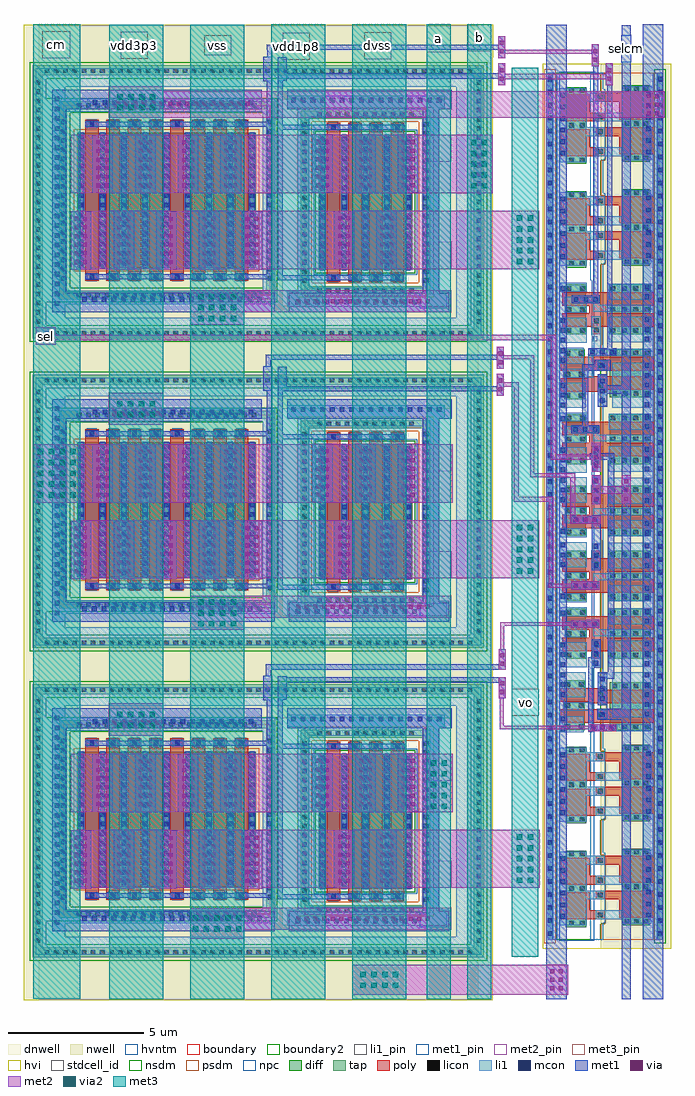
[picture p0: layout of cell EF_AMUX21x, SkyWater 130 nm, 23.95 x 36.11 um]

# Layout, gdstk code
from math import pi, radians
import gdstk
lib = gdstk.Library(unit=1e-6, precision=1e-09)
def R(c, l, rs):  # rectangles x0, y0, x1, y1
    for r in rs: c.add(gdstk.rectangle(r[:2], r[2:], *l))
def A(c, l, x, y, w, h, nx, ny, dx, dy):  # array of equal rectangles
    R(c, l, [(x+i*dx, y+j*dy, x+i*dx+w, y+j*dy+h) for i in range(nx) for j in range(ny)])
def P(c, l, *ps):  # polygons
    for p in ps: c.add(gdstk.Polygon(p, *l))
dnwell = (64, 18)
nwell = (64, 20)
diff = (65, 20)
tap = (65, 44)
poly = (66, 20)
licon = (66, 44)
li1_pin = (67, 16)
li1 = (67, 20)
mcon = (67, 44)
met1_pin = (68, 16)
met1 = (68, 20)
via = (68, 44)
met2_pin = (69, 16)
met2 = (69, 20)
via2 = (69, 44)
met3_pin = (70, 16)
met3 = (70, 20)
hvi = (75, 20)
stdcell_id = (81, 4)
nsdm = (93, 44)
psdm = (94, 20)
npc = (95, 20)
hvntm = (125, 20)
boundary = (235, 4)
boundary2 = (236, 0)

sky130_fd_sc_hvl__nor2_1 = lib.new_cell('sky130_fd_sc_hvl__nor2_1')
R(sky130_fd_sc_hvl__nor2_1, nwell, [(-0.33,1.885,2.73,4.485)])
R(sky130_fd_sc_hvl__nor2_1, diff, [(0.4,0.535,2.25,1.285), (0.47,2.215,2.25,3.715)])
R(sky130_fd_sc_hvl__nor2_1, tap, [(0,-0.085,2.4,0.085), (0,3.985,2.4,4.155)])
R(sky130_fd_sc_hvl__nor2_1, poly, [(1.465,0.405,1.965,3.845)])
P(sky130_fd_sc_hvl__nor2_1, poly, [(1.255,3.845),(0.755,3.845),(0.755,2.085),(0.685,2.085),(0.685,0.405),(1.185,0.405),(1.185,1.415),(1.255,1.415)])
A(sky130_fd_sc_hvl__nor2_1, licon, 0.155, -0.085, 0.17, 0.17, 5, 2, 0.48, 4.07)
A(sky130_fd_sc_hvl__nor2_1, licon, 0.46, 0.575, 0.17, 0.17, 3, 2, 0.78, 0.5)
R(sky130_fd_sc_hvl__nor2_1, licon, [(0.825,1.805,0.995,1.975), (1.575,1.805,1.745,1.975), (2.02,2.255,2.19,2.425), (0.53,2.3,0.7,2.47), (2.02,2.67,2.19,2.84), (0.53,2.7,0.7,2.87), (2.02,3.09,2.19,3.26), (0.53,3.105,0.7,3.275), (0.53,3.505,0.7,3.675), (2.02,3.505,2.19,3.675)])
A(sky130_fd_sc_hvl__nor2_1, li1_pin, 0.155, 1.95, 0.17, 0.17, 5, 1, 0.48, 0)
A(sky130_fd_sc_hvl__nor2_1, li1_pin, 2.075, 2.32, 0.17, 0.17, 1, 3, 0, 0.37)
R(sky130_fd_sc_hvl__nor2_1, li1_pin, [(2.075,1.58,2.245,1.75)])
R(sky130_fd_sc_hvl__nor2_1, li1, [(0,-0.085,2.4,0.085), (0.09,0.365,1.02,1.325), (1.72,0.365,2.31,1.245), (0.125,1.775,1.315,2.12), (1.495,1.775,1.825,2.12), (0.09,2.3,1.76,3.755), (0,3.985,2.4,4.155)])
P(sky130_fd_sc_hvl__nor2_1, li1, [(2.275,3.755),(2.02,3.755),(2.02,1.595),(1.2,1.595),(1.2,0.495),(1.53,0.495),(1.53,1.425),(2.275,1.425)])
A(sky130_fd_sc_hvl__nor2_1, mcon, 0.11, 0.395, 0.17, 0.17, 3, 1, 0.36, 0)
A(sky130_fd_sc_hvl__nor2_1, mcon, 0.12, 3.505, 0.17, 0.17, 5, 1, 0.36, 0)
R(sky130_fd_sc_hvl__nor2_1, mcon, [(0.155,-0.085,0.325,0.085), (0.155,-0.085,0.325,0.085), (0.635,-0.085,0.805,0.085), (0.635,-0.085,0.805,0.085), (1.115,-0.085,1.285,0.085), (1.115,-0.085,1.285,0.085), (1.595,-0.085,1.765,0.085), (1.595,-0.085,1.765,0.085), (2.075,-0.085,2.245,0.085), (2.075,-0.085,2.245,0.085), (1.75,0.395,1.92,0.565), (2.11,0.395,2.28,0.565), (0.155,3.985,0.325,4.155), (0.155,3.985,0.325,4.155), (0.635,3.985,0.805,4.155), (0.635,3.985,0.805,4.155), (1.115,3.985,1.285,4.155), (1.115,3.985,1.285,4.155), (1.595,3.985,1.765,4.155), (1.595,3.985,1.765,4.155), (2.075,3.985,2.245,4.155), (2.075,3.985,2.245,4.155)])
R(sky130_fd_sc_hvl__nor2_1, met1_pin, [(0,0,2.4,0.115), (0,0.255,2.4,0.625), (0,3.445,2.4,3.815), (0,3.955,2.4,4.07)])
R(sky130_fd_sc_hvl__nor2_1, met1, [(0,-0.115,2.4,0.115), (0,0.255,2.4,0.625), (0,3.445,2.4,3.815), (0,3.955,2.4,4.185)])
R(sky130_fd_sc_hvl__nor2_1, hvi, [(-0.33,-0.265,2.73,4.485)])
R(sky130_fd_sc_hvl__nor2_1, stdcell_id, [(0,0,2.4,4.07)])
R(sky130_fd_sc_hvl__nor2_1, nsdm, [(0,0.215,2.4,1.885), (-0.13,3.855,2.53,4.285), (0,3.855,2.4,4.07)])
R(sky130_fd_sc_hvl__nor2_1, psdm, [(-0.13,-0.215,2.53,0.215)])
P(sky130_fd_sc_hvl__nor2_1, psdm, [(2.4,3.855),(0,3.855),(0,1.885),(0.715,1.885),(0.715,2.085),(1.855,2.085),(1.855,1.885),(2.4,1.885)])
P(sky130_fd_sc_hvl__nor2_1, npc, [(2.4,1.97),(1.845,1.97),(1.845,2.075),(1.74,2.075),(1.74,2.125),(0.83,2.125),(0.83,2.075),(0.725,2.075),(0.725,1.97),(0,1.97),(0,1.545),(2.4,1.545)])
R(sky130_fd_sc_hvl__nor2_1, hvntm, [(-0.035,0.35,2.435,1.64)])
R(sky130_fd_sc_hvl__nor2_1, boundary2, [(0,0,2.4,4.07)])
sky130_fd_sc_hvl__nor2_1.add(gdstk.Label('nor2_1', (0,0), layer=83, texttype=44))
sky130_fd_sc_hvl__nor2_1.add(gdstk.Label('VGND', (1.2,0.44), layer=68, texttype=5))
sky130_fd_sc_hvl__nor2_1.add(gdstk.Label('VNB', (1.2,0.058), layer=68, texttype=5))
sky130_fd_sc_hvl__nor2_1.add(gdstk.Label('VPWR', (1.2,3.63), layer=68, texttype=5))
sky130_fd_sc_hvl__nor2_1.add(gdstk.Label('VPB', (1.2,4.013), layer=68, texttype=5))
sky130_fd_sc_hvl__nor2_1.add(gdstk.Label('A', (0.24,2.035), layer=67, texttype=5))
sky130_fd_sc_hvl__nor2_1.add(gdstk.Label('A', (0.72,2.035), layer=67, texttype=5))
sky130_fd_sc_hvl__nor2_1.add(gdstk.Label('A', (1.2,2.035), layer=67, texttype=5))
sky130_fd_sc_hvl__nor2_1.add(gdstk.Label('B', (1.68,2.035), layer=67, texttype=5))
sky130_fd_sc_hvl__nor2_1.add(gdstk.Label('Y', (2.16,1.665), layer=67, texttype=5))
sky130_fd_sc_hvl__nor2_1.add(gdstk.Label('Y', (2.16,2.035), layer=67, texttype=5))
sky130_fd_sc_hvl__nor2_1.add(gdstk.Label('Y', (2.16,2.405), layer=67, texttype=5))
sky130_fd_sc_hvl__nor2_1.add(gdstk.Label('Y', (2.16,2.775), layer=67, texttype=5))
sky130_fd_sc_hvl__nor2_1.add(gdstk.Label('Y', (2.16,3.145), layer=67, texttype=5))

sky130_fd_sc_hvl__decap_ = lib.new_cell('sky130_fd_sc_hvl__decap_8')
R(sky130_fd_sc_hvl__decap_, nwell, [(-0.33,1.885,4.17,4.485)])
R(sky130_fd_sc_hvl__decap_, diff, [(0.535,0.59,3.365,1.34), (0.46,2.7,3.3,3.7)])
R(sky130_fd_sc_hvl__decap_, tap, [(0,-0.085,3.84,0.085), (0,3.985,3.84,4.155)])
P(sky130_fd_sc_hvl__decap_, poly, [(3.08,2.025),(2.75,2.025),(2.75,1.47),(2.08,1.47),(2.08,0.4),(3.08,0.4)],
  [(3.015,3.83),(2.015,3.83),(2.015,1.695),(2.345,1.695),(2.345,2.57),(3.015,2.57)],
  [(1.735,3.83),(0.735,3.83),(0.735,1.695),(1.065,1.695),(1.065,2.57),(1.735,2.57)],
  [(1.8,2.025),(1.47,2.025),(1.47,1.47),(0.8,1.47),(0.8,0.4),(1.8,0.4)])
A(sky130_fd_sc_hvl__decap_, licon, 0.155, -0.085, 0.17, 0.17, 8, 2, 0.48, 4.07)
A(sky130_fd_sc_hvl__decap_, licon, 0.575, 0.72, 0.17, 0.17, 3, 2, 1.28, 0.39)
A(sky130_fd_sc_hvl__decap_, licon, 0.5, 2.76, 0.17, 0.17, 1, 3, 0, 0.355)
A(sky130_fd_sc_hvl__decap_, licon, 1.79, 2.76, 0.17, 0.17, 1, 3, 0, 0.355)
A(sky130_fd_sc_hvl__decap_, licon, 3.07, 2.76, 0.17, 0.17, 1, 3, 0, 0.355)
R(sky130_fd_sc_hvl__decap_, licon, [(0.815,1.775,0.985,1.945), (1.55,1.775,1.72,1.945), (2.095,1.775,2.265,1.945), (2.83,1.775,3,1.945)])
R(sky130_fd_sc_hvl__decap_, li1, [(0,-0.085,3.84,0.085), (0,3.985,3.84,4.155)])
P(sky130_fd_sc_hvl__decap_, li1, [(3.24,3.75),(0.5,3.75),(0.5,2.68),(1.47,2.68),(1.47,1.695),(1.8,1.695),(1.8,2.68),(2.75,2.68),(2.75,1.695),(3.08,1.695),(3.08,2.68),(3.24,2.68)],
  [(3.305,1.36),(2.345,1.36),(2.345,2.025),(2.015,2.025),(2.015,1.36),(1.065,1.36),(1.065,2.025),(0.735,2.025),(0.735,1.36),(0.575,1.36),(0.575,0.36),(3.305,0.36)])
A(sky130_fd_sc_hvl__decap_, mcon, 0.155, -0.085, 0.17, 0.17, 8, 2, 0.48, 4.07)
R(sky130_fd_sc_hvl__decap_, mcon, [(0.745,0.39,0.915,0.56), (1.185,0.39,1.355,0.56), (1.6,0.39,1.77,0.56), (2.025,0.39,2.195,0.56), (2.465,0.39,2.635,0.56), (2.88,0.39,3.05,0.56), (0.705,3.555,0.875,3.725), (1.145,3.555,1.315,3.725), (1.56,3.555,1.73,3.725), (1.985,3.555,2.155,3.725), (2.425,3.555,2.595,3.725), (2.84,3.555,3.01,3.725)])
R(sky130_fd_sc_hvl__decap_, met1_pin, [(0,0,3.84,0.115), (0,0,3.84,0.115), (0,0.255,3.84,0.625), (0,3.445,3.84,3.815), (0,3.955,3.84,4.07), (0,3.955,3.84,4.07)])
R(sky130_fd_sc_hvl__decap_, met1, [(0,-0.115,3.84,0.115), (0,0.255,3.84,0.625), (0,3.445,3.84,3.815), (0,3.955,3.84,4.185)])
R(sky130_fd_sc_hvl__decap_, hvi, [(-0.33,-0.265,4.17,4.485)])
R(sky130_fd_sc_hvl__decap_, stdcell_id, [(0,0,3.84,4.07)])
R(sky130_fd_sc_hvl__decap_, nsdm, [(-0.13,3.855,3.97,4.285)])
P(sky130_fd_sc_hvl__decap_, nsdm, [(3.84,1.885),(3.24,1.885),(3.24,2.055),(0.705,2.055),(0.705,1.885),(0,1.885),(0,0.215),(3.84,0.215)])
R(sky130_fd_sc_hvl__decap_, psdm, [(-0.13,-0.215,3.97,0.215)])
P(sky130_fd_sc_hvl__decap_, psdm, [(3.84,3.855),(0,3.855),(0,1.885),(0.705,1.885),(0.705,2.055),(3.24,2.055),(3.24,1.885),(3.84,1.885)])
P(sky130_fd_sc_hvl__decap_, npc, [(3.84,1.97),(3.2,1.97),(3.2,2.05),(0.615,2.05),(0.615,1.97),(0,1.97),(0,1.5),(3.84,1.5)])
R(sky130_fd_sc_hvl__decap_, hvntm, [(-0.035,0.35,3.875,1.64)])
R(sky130_fd_sc_hvl__decap_, boundary2, [(0,0,3.84,4.07)])
sky130_fd_sc_hvl__decap_.add(gdstk.Label('decap_8', (0,0), layer=83, texttype=44))
sky130_fd_sc_hvl__decap_.add(gdstk.Label('VNB', (1.92,0.058), layer=68, texttype=5))
sky130_fd_sc_hvl__decap_.add(gdstk.Label('VGND', (1.92,0.44), layer=68, texttype=5))
sky130_fd_sc_hvl__decap_.add(gdstk.Label('VNB', (1.92,0.058), layer=68, texttype=5))
sky130_fd_sc_hvl__decap_.add(gdstk.Label('VPWR', (1.92,3.63), layer=68, texttype=5))
sky130_fd_sc_hvl__decap_.add(gdstk.Label('VPB', (1.92,4.013), layer=68, texttype=5))
sky130_fd_sc_hvl__decap_.add(gdstk.Label('VPB', (1.92,4.013), layer=68, texttype=5))

sky130_fd_pr__nfet_g5v0d = lib.new_cell('sky130_fd_pr__nfet_g5v0d10v5_N9BQ2J')
R(sky130_fd_pr__nfet_g5v0d, diff, [(-1.725,-2.5,1.725,2.5)])
R(sky130_fd_pr__nfet_g5v0d, tap, [(-2.395,-3.39,2.395,-3.1), (-2.395,-3.1,-2.105,3.1), (2.105,-3.1,2.395,3.1), (-2.395,3.1,2.395,3.39)])
A(sky130_fd_pr__nfet_g5v0d, poly, -1.435, -2.94, 0.5, 5.88, 4, 1, 0.79, 0)
A(sky130_fd_pr__nfet_g5v0d, licon, -1.785, -3.33, 0.17, 0.17, 11, 2, 0.34, 6.49)
A(sky130_fd_pr__nfet_g5v0d, licon, -2.335, -2.98, 0.17, 0.17, 1, 18, 0, 0.34)
A(sky130_fd_pr__nfet_g5v0d, licon, 2.165, -2.98, 0.17, 0.17, 1, 18, 0, 0.34)
A(sky130_fd_pr__nfet_g5v0d, licon, -1.27, -2.86, 0.17, 0.17, 4, 2, 0.79, 5.55)
A(sky130_fd_pr__nfet_g5v0d, licon, -1.665, -2.295, 0.17, 0.17, 5, 14, 0.79, 0.34)
A(sky130_fd_pr__nfet_g5v0d, li1, -1.435, -2.86, 0.5, 0.17, 4, 2, 0.79, 5.55)
A(sky130_fd_pr__nfet_g5v0d, li1, -1.665, -2.52, 0.17, 5.04, 5, 1, 0.79, 0)
R(sky130_fd_pr__nfet_g5v0d, li1, [(-2.335,-3.33,2.335,-3.16), (-2.335,-3.16,-2.165,3.16), (2.165,-3.16,2.335,3.16), (-2.335,3.16,2.335,3.33)])
A(sky130_fd_pr__nfet_g5v0d, mcon, -1.27, -2.86, 0.17, 0.17, 4, 2, 0.79, 5.55)
A(sky130_fd_pr__nfet_g5v0d, mcon, -1.665, -2.425, 0.17, 0.17, 5, 14, 0.79, 0.36)
A(sky130_fd_pr__nfet_g5v0d, met1, -1.415, -2.89, 0.46, 0.23, 4, 2, 0.79, 5.55)
A(sky130_fd_pr__nfet_g5v0d, met1, -1.695, -2.5, 0.23, 5, 5, 1, 0.79, 0)
R(sky130_fd_pr__nfet_g5v0d, hvi, [(-2.58,-3.575,2.58,3.575)])
R(sky130_fd_pr__nfet_g5v0d, nsdm, [(-1.85,-2.625,1.85,2.625)])
R(sky130_fd_pr__nfet_g5v0d, psdm, [(-2.52,-3.515,2.52,-2.975), (-2.52,-2.975,-1.98,2.975), (1.98,-2.975,2.52,2.975), (-2.52,2.975,2.52,3.515)])
A(sky130_fd_pr__nfet_g5v0d, npc, -1.37, -2.96, 0.37, 0.37, 4, 2, 0.79, 5.55)
R(sky130_fd_pr__nfet_g5v0d, hvntm, [(-1.91,-2.685,1.91,2.685)])
R(sky130_fd_pr__nfet_g5v0d, boundary, [(-2.25,-3.465,2.25,3.465)])

sky130_fd_pr__pfet_g5v0d = lib.new_cell('sky130_fd_pr__pfet_g5v0d10v5_KLJ6Y6')
R(sky130_fd_pr__pfet_g5v0d, nwell, [(-4.305,-3.985,4.305,3.985)])
R(sky130_fd_pr__pfet_g5v0d, diff, [(-3.305,-2.5,3.305,2.5)])
R(sky130_fd_pr__pfet_g5v0d, tap, [(-3.975,-3.655,3.975,-3.365), (-3.975,-3.365,-3.685,3.365), (3.685,-3.365,3.975,3.365), (-3.975,3.365,3.975,3.655)])
A(sky130_fd_pr__pfet_g5v0d, poly, -3.015, -2.985, 0.5, 5.97, 8, 1, 0.79, 0)
A(sky130_fd_pr__pfet_g5v0d, licon, -3.315, -3.595, 0.17, 0.17, 20, 2, 0.34, 7.02)
A(sky130_fd_pr__pfet_g5v0d, licon, -3.915, -2.975, 0.17, 0.17, 1, 18, 0, 0.34)
A(sky130_fd_pr__pfet_g5v0d, licon, 3.745, -2.975, 0.17, 0.17, 1, 18, 0, 0.34)
A(sky130_fd_pr__pfet_g5v0d, licon, -2.85, -2.905, 0.17, 0.17, 8, 2, 0.79, 5.64)
A(sky130_fd_pr__pfet_g5v0d, licon, -3.245, -2.295, 0.17, 0.17, 9, 14, 0.79, 0.34)
A(sky130_fd_pr__pfet_g5v0d, li1, -3.015, -2.905, 0.5, 0.17, 8, 2, 0.79, 5.64)
A(sky130_fd_pr__pfet_g5v0d, li1, -3.245, -2.52, 0.17, 5.04, 9, 1, 0.79, 0)
R(sky130_fd_pr__pfet_g5v0d, li1, [(-3.915,-3.595,3.915,-3.425), (-3.915,-3.425,-3.745,3.425), (3.745,-3.425,3.915,3.425), (-3.915,3.425,3.915,3.595)])
A(sky130_fd_pr__pfet_g5v0d, mcon, -2.85, -2.905, 0.17, 0.17, 8, 2, 0.79, 5.64)
A(sky130_fd_pr__pfet_g5v0d, mcon, -3.245, -2.425, 0.17, 0.17, 9, 14, 0.79, 0.36)
A(sky130_fd_pr__pfet_g5v0d, met1, -2.995, -2.935, 0.46, 0.23, 8, 2, 0.79, 5.64)
A(sky130_fd_pr__pfet_g5v0d, met1, -3.275, -2.5, 0.23, 5, 9, 1, 0.79, 0)
R(sky130_fd_pr__pfet_g5v0d, hvi, [(-4.305,-3.985,4.305,3.985)])
R(sky130_fd_pr__pfet_g5v0d, nsdm, [(-4.1,-3.78,4.1,-3.24), (-4.1,-3.24,-3.56,3.24), (3.56,-3.24,4.1,3.24), (-4.1,3.24,4.1,3.78)])
R(sky130_fd_pr__pfet_g5v0d, psdm, [(-3.43,-2.625,3.43,2.625)])
A(sky130_fd_pr__pfet_g5v0d, npc, -2.95, -3.005, 0.37, 0.37, 8, 2, 0.79, 5.64)
R(sky130_fd_pr__pfet_g5v0d, boundary, [(-3.83,-3.51,3.83,3.51)])

iso_switch_via_med = lib.new_cell('iso_switch_via_med')
R(iso_switch_via_med, met1, [(3.06,-14.57,3.82,-12.41)])
A(iso_switch_via_med, via, 3.2, -14.365, 0.15, 0.15, 1, 6, 0, 0.32)
A(iso_switch_via_med, via, 3.52, -14.365, 0.15, 0.15, 1, 6, 0, 0.32)
R(iso_switch_via_med, met2, [(3.06,-14.57,3.82,-12.41)])

simple_analog_switch_2 = lib.new_cell('simple_analog_switch_2')
R(simple_analog_switch_2, dnwell, [(6.59,0.635,22.855,10.335)])
R(simple_analog_switch_2, nwell, [(6.05,0.12,23.4,1.665), (6.05,1.665,7.08,2.31), (21.825,1.665,23.4,9.305), (6.05,2.31,7.025,9.305), (6.05,9.305,23.4,10.88)])
R(simple_analog_switch_2, tap, [(6.38,0.45,23.07,0.82), (6.38,0.82,6.75,10.18), (22.7,0.82,23.07,10.18), (6.38,10.18,23.07,10.55)])
A(simple_analog_switch_2, licon, 6.82, 0.55, 0.17, 0.17, 47, 2, 0.34, 9.73)
A(simple_analog_switch_2, licon, 6.48, 0.995, 0.17, 0.17, 1, 27, 0, 0.34)
A(simple_analog_switch_2, licon, 22.8, 0.995, 0.17, 0.17, 1, 27, 0, 0.34)
R(simple_analog_switch_2, li1, [(6.48,0.55,22.97,1.22), (6.48,1.22,7.585,1.71), (22.05,1.22,22.97,9.77), (15.8,1.62,21.785,2.205), (6.48,1.71,15.35,2.21), (16.18,2.205,16.61,8.815), (20.8,2.205,21.41,8.815), (6.48,2.21,7.585,8.845), (14.88,2.21,15.35,8.845), (16.18,8.815,21.41,8.98), (6.48,8.845,15.35,9.315), (15.8,8.98,21.61,9.43), (6.48,9.315,7.585,9.77), (6.48,9.77,22.97,10.45)])
A(simple_analog_switch_2, mcon, 7.185, 1.66, 0.17, 0.17, 1, 22, 0, 0.36)
A(simple_analog_switch_2, mcon, 16.095, 1.715, 0.17, 0.17, 13, 1, 0.36, 0)
A(simple_analog_switch_2, mcon, 8.205, 1.815, 0.17, 0.17, 19, 1, 0.36, 0)
A(simple_analog_switch_2, mcon, 8.6, 9.1, 0.17, 0.17, 17, 1, 0.36, 0)
A(simple_analog_switch_2, mcon, 15.93, 9.18, 0.17, 0.17, 16, 1, 0.36, 0)
R(simple_analog_switch_2, met1_pin, [(20.7,1.575,21.7,2.11), (7.405,8.93,8.405,9.32), (14.905,9.96,15.245,10.865), (15.445,9.98,15.78,10.86)])
R(simple_analog_switch_2, met1, [(7.1,1.42,15.33,2.15), (15.85,1.42,21.785,2.15), (7.1,2.15,7.61,8.93), (20.8,2.15,21.41,8.93), (15.44,2.61,20.11,2.79), (8.31,2.65,15.24,2.83), (15.44,2.79,15.62,8.17), (15.04,2.83,15.24,8.29), (15.44,8.17,20.13,8.35), (8.31,8.29,15.24,8.47), (15.44,8.35,15.62,9.98), (15.04,8.47,15.24,9.96), (7.1,8.93,14.84,9.66), (15.8,8.93,21.875,9.66), (14.905,9.96,15.245,10.865), (15.44,9.98,15.78,10.1), (15.445,10.1,15.78,10.86)])
R(simple_analog_switch_2, met2_pin, [(21.03,3.02,21.87,4.02), (21.035,6.98,21.865,7.98)])
R(simple_analog_switch_2, met2, [(7.985,3.02,21.91,5.18), (7.78,5.82,21.91,7.98)])
R(simple_analog_switch_2, hvi, [(6.05,0.12,23.4,1.665), (6.05,1.665,7.08,2.31), (15.63,1.665,23.4,1.91), (15.63,1.91,16.105,9.06), (21.265,1.91,23.4,9.06), (6.05,2.31,7.025,9.305), (15.63,9.06,23.4,9.305), (6.05,9.305,23.4,10.88)])
R(simple_analog_switch_2, nsdm, [(6.255,0.325,23.195,0.945), (6.255,0.945,6.875,1.785), (22.575,0.945,23.195,10.055), (6.255,1.785,7.225,9.345), (6.255,9.345,6.875,10.055), (6.255,10.055,23.195,10.675)])
simple_analog_switch_2.add(gdstk.Reference(sky130_fd_pr__nfet_g5v0d, (18.685,5.485), rotation=pi, x_reflection=True))
simple_analog_switch_2.add(gdstk.Reference(sky130_fd_pr__pfet_g5v0d, (11.325,5.565)))
simple_analog_switch_2.add(gdstk.Reference(iso_switch_via_med, (23.7,-6.57), rotation=pi))
simple_analog_switch_2.add(gdstk.Reference(iso_switch_via_med, (22.91,-9.4), rotation=pi))
simple_analog_switch_2.add(gdstk.Reference(iso_switch_via_med, (21.33,-9.4), rotation=pi))
simple_analog_switch_2.add(gdstk.Reference(iso_switch_via_med, (11.045,-9.41), x_reflection=True))
simple_analog_switch_2.add(gdstk.Reference(iso_switch_via_med, (22.12,-6.57), rotation=pi))
simple_analog_switch_2.add(gdstk.Reference(iso_switch_via_med, (20.54,-6.57), rotation=pi))
simple_analog_switch_2.add(gdstk.Reference(iso_switch_via_med, (8.68,-6.58), x_reflection=True))
simple_analog_switch_2.add(gdstk.Reference(iso_switch_via_med, (7.1,-6.58), x_reflection=True))
simple_analog_switch_2.add(gdstk.Reference(iso_switch_via_med, (10.26,-6.58), x_reflection=True))
simple_analog_switch_2.add(gdstk.Reference(iso_switch_via_med, (9.465,-9.41), x_reflection=True))
simple_analog_switch_2.add(gdstk.Reference(iso_switch_via_med, (7.885,-9.41), x_reflection=True))
simple_analog_switch_2.add(gdstk.Reference(iso_switch_via_med, (6.305,-9.41), x_reflection=True))
simple_analog_switch_2.add(gdstk.Reference(iso_switch_via_med, (4.725,-9.41), x_reflection=True))
simple_analog_switch_2.add(gdstk.Reference(iso_switch_via_med, (5.52,-6.58), x_reflection=True))
simple_analog_switch_2.add(gdstk.Label('on', (15.612,10.42), layer=68, texttype=5))
simple_analog_switch_2.add(gdstk.Label('off', (15.075,10.412), layer=68, texttype=5))
simple_analog_switch_2.add(gdstk.Label('vss', (21.2,1.842), layer=68, texttype=5))
simple_analog_switch_2.add(gdstk.Label('out', (21.45,3.52), layer=69, texttype=5))
simple_analog_switch_2.add(gdstk.Label('in', (21.45,7.48), layer=69, texttype=5))
simple_analog_switch_2.add(gdstk.Label('vdd', (7.905,9.125), layer=68, texttype=5))

sky130_fd_sc_hvl__inv_2 = lib.new_cell('sky130_fd_sc_hvl__inv_2')
R(sky130_fd_sc_hvl__inv_2, nwell, [(-0.33,1.885,2.73,4.485)])
R(sky130_fd_sc_hvl__inv_2, diff, [(0.4,0.58,2.25,1.33), (0.4,2.215,2.25,3.715)])
R(sky130_fd_sc_hvl__inv_2, tap, [(0,-0.085,2.4,0.085), (0,3.985,2.4,4.155)])
P(sky130_fd_sc_hvl__inv_2, poly, [(1.965,3.845),(1.465,3.845),(1.465,2.085),(1.185,2.085),(1.185,3.845),(0.685,3.845),(0.685,1.88),(0.4,1.88),(0.4,1.55),(0.685,1.55),(0.685,0.45),(1.185,0.45),(1.185,1.46),(1.465,1.46),(1.465,0.45),(1.965,0.45)])
A(sky130_fd_sc_hvl__inv_2, licon, 0.155, -0.085, 0.17, 0.17, 5, 2, 0.48, 4.07)
A(sky130_fd_sc_hvl__inv_2, licon, 0.46, 0.62, 0.17, 0.17, 3, 2, 0.78, 0.5)
A(sky130_fd_sc_hvl__inv_2, licon, 0.46, 2.255, 0.17, 0.17, 3, 2, 0.78, 0.415)
A(sky130_fd_sc_hvl__inv_2, licon, 0.46, 3.09, 0.17, 0.17, 3, 2, 0.78, 0.415)
R(sky130_fd_sc_hvl__inv_2, licon, [(0.48,1.63,0.65,1.8), (0.82,1.63,0.99,1.8)])
A(sky130_fd_sc_hvl__inv_2, li1_pin, 1.595, 0.84, 0.17, 0.17, 1, 3, 0, 0.37)
R(sky130_fd_sc_hvl__inv_2, li1_pin, [(0.155,1.58,0.325,1.75), (0.635,1.58,0.805,1.75)])
R(sky130_fd_sc_hvl__inv_2, li1, [(0,-0.085,2.4,0.085), (0.09,0.365,1.02,1.37), (1.98,0.365,2.31,1.37), (0.125,1.55,1.07,1.88), (0.11,2.175,1.06,3.755), (1.68,2.175,2.27,3.755), (0,3.985,2.4,4.155)])
P(sky130_fd_sc_hvl__inv_2, li1, [(1.795,1.78),(1.49,1.78),(1.49,3.755),(1.24,3.755),(1.24,1.61),(1.565,1.61),(1.565,1.37),(1.2,1.37),(1.2,0.54),(1.795,0.54)])
A(sky130_fd_sc_hvl__inv_2, mcon, 0.11, 0.395, 0.17, 0.17, 3, 1, 0.36, 0)
A(sky130_fd_sc_hvl__inv_2, mcon, 0.14, 3.505, 0.17, 0.17, 3, 1, 0.36, 0)
R(sky130_fd_sc_hvl__inv_2, mcon, [(0.155,-0.085,0.325,0.085), (0.155,-0.085,0.325,0.085), (0.635,-0.085,0.805,0.085), (0.635,-0.085,0.805,0.085), (1.115,-0.085,1.285,0.085), (1.115,-0.085,1.285,0.085), (1.595,-0.085,1.765,0.085), (1.595,-0.085,1.765,0.085), (2.075,-0.085,2.245,0.085), (2.075,-0.085,2.245,0.085), (2.01,0.395,2.18,0.565), (1.71,3.505,1.88,3.675), (2.07,3.505,2.24,3.675), (0.155,3.985,0.325,4.155), (0.155,3.985,0.325,4.155), (0.635,3.985,0.805,4.155), (0.635,3.985,0.805,4.155), (1.115,3.985,1.285,4.155), (1.115,3.985,1.285,4.155), (1.595,3.985,1.765,4.155), (1.595,3.985,1.765,4.155), (2.075,3.985,2.245,4.155), (2.075,3.985,2.245,4.155)])
R(sky130_fd_sc_hvl__inv_2, met1_pin, [(0,0,2.4,0.115), (0,0.255,2.4,0.625), (0,3.445,2.4,3.815), (0,3.955,2.4,4.07)])
R(sky130_fd_sc_hvl__inv_2, met1, [(0,-0.115,2.4,0.115), (0,0.255,2.4,0.625), (0,3.445,2.4,3.815), (0,3.955,2.4,4.185)])
R(sky130_fd_sc_hvl__inv_2, hvi, [(-0.33,-0.265,2.73,4.485)])
R(sky130_fd_sc_hvl__inv_2, stdcell_id, [(0,0,2.4,4.07)])
R(sky130_fd_sc_hvl__inv_2, nsdm, [(0,0.215,2.4,1.885), (-0.13,3.855,2.53,4.285), (0,3.855,2.4,4.07)])
R(sky130_fd_sc_hvl__inv_2, psdm, [(-0.13,-0.215,2.53,0.215)])
P(sky130_fd_sc_hvl__inv_2, psdm, [(2.4,3.855),(0,3.855),(0,1.91),(1.1,1.91),(1.1,1.885),(2.4,1.885)])
P(sky130_fd_sc_hvl__inv_2, npc, [(2.4,1.97),(0,1.97),(0,1.545),(0.38,1.545),(0.38,1.53),(1.09,1.53),(1.09,1.545),(2.4,1.545)])
R(sky130_fd_sc_hvl__inv_2, hvntm, [(-0.035,0.35,2.435,1.64)])
R(sky130_fd_sc_hvl__inv_2, boundary2, [(0,0,2.4,4.07)])
sky130_fd_sc_hvl__inv_2.add(gdstk.Label('inv_2', (0,0), layer=83, texttype=44))
sky130_fd_sc_hvl__inv_2.add(gdstk.Label('VGND', (1.2,0.44), layer=68, texttype=5))
sky130_fd_sc_hvl__inv_2.add(gdstk.Label('VNB', (1.2,0.058), layer=68, texttype=5))
sky130_fd_sc_hvl__inv_2.add(gdstk.Label('VPWR', (1.2,3.63), layer=68, texttype=5))
sky130_fd_sc_hvl__inv_2.add(gdstk.Label('VPB', (1.2,4.013), layer=68, texttype=5))
sky130_fd_sc_hvl__inv_2.add(gdstk.Label('A', (0.24,1.665), layer=67, texttype=5))
sky130_fd_sc_hvl__inv_2.add(gdstk.Label('A', (0.72,1.665), layer=67, texttype=5))
sky130_fd_sc_hvl__inv_2.add(gdstk.Label('Y', (1.68,0.925), layer=67, texttype=5))
sky130_fd_sc_hvl__inv_2.add(gdstk.Label('Y', (1.68,1.295), layer=67, texttype=5))
sky130_fd_sc_hvl__inv_2.add(gdstk.Label('Y', (1.68,1.665), layer=67, texttype=5))

ef_amux21x = lib.new_cell('EF_AMUX21x')
R(ef_amux21x, dnwell, [(5.44,-43.795,21.705,-42.055), (5.44,-32.53,21.705,-30.49), (10.915,-30.49,13.195,-29.29), (5.44,-21.1,21.705,-17.86), (5.44,-9.485,21.705,-7.775)])
R(ef_amux21x, nwell, [(4.895,-43.815,22.25,-42.57), (10.9,-42.57,13.18,-41.17), (4.9,-31.965,22.25,-30.97), (10.915,-30.97,13.195,-29.77), (4.9,-20.475,22.25,-18.28), (10.94,-9.94,13.22,-8.94), (4.9,-8.94,22.255,-7.74)])
R(ef_amux21x, li1, [(25.845,-33.83,26.75,-33.64), (26.135,-33.38,26.48,-33.115), (26.19,-32.81,26.405,-31.785), (25.95,-31.46,26.195,-30.525), (25.215,-30.01,26.11,-29.8), (25.215,-28.58,26.11,-28.37), (25.95,-27.855,26.195,-26.92), (25.215,-26.14,26.11,-25.93), (25.95,-25.415,26.195,-24.48), (25.95,-24.26,26.195,-23.325), (25.215,-22.81,26.11,-22.6), (26.19,-21.79,26.405,-20.765), (26.135,-20.47,26.48,-20.195), (25.845,-19.935,26.75,-19.745), (25.915,-19.745,26.245,-19.33), (25.245,-18,26.14,-17.79)])
A(ef_amux21x, mcon, 25.85, -33.82, 0.17, 0.17, 3, 2, 0.36, 13.895)
A(ef_amux21x, mcon, 26.21, -32.745, 0.17, 0.17, 1, 3, 0, 0.36)
A(ef_amux21x, mcon, 25.985, -31.44, 0.17, 0.17, 1, 3, 0, 0.36)
A(ef_amux21x, mcon, 25.215, -29.99, 0.17, 0.17, 3, 2, 0.36, 1.43)
A(ef_amux21x, mcon, 25.985, -27.835, 0.17, 0.17, 1, 3, 0, 0.36)
A(ef_amux21x, mcon, 25.215, -26.12, 0.17, 0.17, 3, 2, 0.36, 3.33)
A(ef_amux21x, mcon, 25.985, -25.395, 0.17, 0.17, 1, 3, 0, 0.36)
A(ef_amux21x, mcon, 26.21, -21.725, 0.17, 0.17, 1, 3, 0, 0.36)
A(ef_amux21x, mcon, 25.245, -17.98, 0.17, 0.17, 3, 1, 0.36, 0)
R(ef_amux21x, mcon, [(26.22,-33.335,26.39,-33.165), (25.985,-24.03,26.155,-23.86), (25.985,-23.67,26.155,-23.5), (26.22,-20.42,26.39,-20.25)])
R(ef_amux21x, met1_pin, [(26.995,-9.125,27.375,-8.125)])
R(ef_amux21x, met1, [(27.025,-43.79,27.345,-33.445), (24.23,-43.78,24.985,-7.725), (27.8,-43.78,28.555,-7.715), (14.85,-40.95,20.04,-40.67), (25.78,-33.885,25.965,-33.865), (25.78,-33.865,26.81,-33.605), (8.055,-33.735,10.02,-33.39), (25.78,-33.605,25.965,-31.53), (26.105,-33.445,27.345,-33.045), (27.025,-33.045,27.345,-21.38), (26.135,-32.905,26.48,-31.935), (22.46,-32.65,22.725,-32.08), (14.5,-32.08,22.725,-31.88), (13.85,-32,14.05,-31.595), (26.135,-31.935,26.735,-31.695), (26.495,-31.695,26.735,-23.82), (22.46,-31.605,22.725,-31.595), (13.85,-31.595,22.725,-31.395), (25.78,-31.53,26.24,-31.13), (22.46,-31.395,22.725,-30.835), (25.91,-31.13,26.24,-30.46), (25.14,-30.05,26.18,-29.75), (14.85,-29.4,20.04,-29.12), (25.14,-28.63,26.18,-28.33), (25.91,-27.92,26.24,-26.19), (25.14,-26.19,26.24,-25.89), (25.91,-25.89,26.24,-25.885), (25.91,-25.48,26.24,-24.41), (25.91,-24.265,26.24,-23.82), (25.825,-23.82,26.735,-23.58), (25.91,-23.58,26.24,-23.195), (25.14,-22.85,26.18,-22.55), (25.56,-22.55,25.77,-20.525), (8.06,-22.285,10.025,-21.94), (26.135,-21.865,26.48,-21.38), (22.395,-21.465,22.655,-21.295), (26.135,-21.38,27.345,-21.065), (14.415,-21.295,22.655,-21.11), (22.395,-21.11,22.655,-20.65), (26.135,-21.065,26.48,-20.67), (27.025,-21.065,27.345,-9.125), (13.845,-20.565,14.03,-20.135), (25.56,-20.525,26.615,-20.285), (22.4,-20.465,22.66,-20.135), (26.02,-20.285,26.615,-20.13), (13.845,-20.135,22.66,-19.95), (25.785,-19.97,26.81,-19.71), (22.4,-19.95,22.66,-19.65), (26.48,-19.71,26.67,-9.98), (14.85,-18.1,20.04,-17.82), (25.17,-18.04,26.21,-17.74), (25.955,-17.74,26.14,-9.275), (8.145,-10.83,13.425,-10.49), (22.44,-9.98,22.7,-9.735), (26.425,-9.98,26.685,-9.165), (14.49,-9.735,22.7,-9.52), (22.44,-9.52,22.7,-9.165), (25.91,-9.275,26.17,-8.46), (26.995,-9.125,27.375,-8.125), (13.9,-9.08,14.08,-8.66), (22.44,-8.97,22.7,-8.66), (13.89,-8.66,22.7,-8.48), (22.44,-8.48,22.7,-8.155), (27.025,-8.125,27.345,-7.76)])
A(ef_amux21x, via, 24.37, -43.46, 0.15, 0.15, 1, 3, 0, 0.32)
A(ef_amux21x, via, 24.69, -43.46, 0.15, 0.15, 1, 3, 0, 0.32)
A(ef_amux21x, via, 14.97, -40.885, 0.15, 0.15, 16, 2, 0.32, 11.55)
A(ef_amux21x, via, 25.9, -33.81, 0.15, 0.15, 3, 1, 0.32, 0)
A(ef_amux21x, via, 8.16, -33.64, 0.15, 0.15, 6, 1, 0.32, 0)
A(ef_amux21x, via, 25.26, -29.975, 0.15, 0.15, 3, 2, 0.32, 1.42)
A(ef_amux21x, via, 25.285, -26.115, 0.15, 0.15, 3, 1, 0.32, 0)
A(ef_amux21x, via, 26, -25.34, 0.15, 0.15, 1, 3, 0, 0.32)
A(ef_amux21x, via, 27.11, -25.34, 0.15, 0.15, 1, 3, 0, 0.32)
A(ef_amux21x, via, 26, -24.125, 0.15, 0.15, 1, 3, 0, 0.32)
A(ef_amux21x, via, 8.165, -22.19, 0.15, 0.15, 6, 1, 0.32, 0)
A(ef_amux21x, via, 14.97, -18.035, 0.15, 0.15, 16, 1, 0.32, 0)
A(ef_amux21x, via, 27.94, -11.085, 0.15, 0.15, 1, 3, 0, 0.32)
A(ef_amux21x, via, 28.26, -11.085, 0.15, 0.15, 1, 3, 0, 0.32)
A(ef_amux21x, via, 8.31, -10.735, 0.15, 0.15, 16, 1, 0.32, 0)
R(ef_amux21x, via, [(22.515,-32.495,22.665,-32.345), (22.515,-32.175,22.665,-32.025), (22.515,-31.45,22.665,-31.3), (22.515,-31.13,22.665,-30.98), (22.45,-21.29,22.6,-21.14), (22.45,-20.97,22.6,-20.82), (22.455,-20.29,22.605,-20.14), (22.455,-19.97,22.605,-19.82), (22.495,-9.805,22.645,-9.655), (26.48,-9.805,26.63,-9.655), (22.495,-9.485,22.645,-9.335), (26.48,-9.485,26.63,-9.335), (25.965,-9.1,26.115,-8.95), (22.495,-8.795,22.645,-8.645), (25.965,-8.78,26.115,-8.63), (22.495,-8.475,22.645,-8.325)])
R(ef_amux21x, met2_pin, [(5.345,-19.58,6.085,-18.925)])
R(ef_amux21x, met2, [(17.045,-43.63,19.05,-43.625), (17.045,-43.625,25.045,-42.52), (17.06,-42.52,25.045,-42.505), (11.05,-41.555,13.05,-41.215), (11.05,-41.215,20.7,-40.42), (13.05,-40.42,20.7,-40.41), (20.705,-39.67,23.975,-37.51), (19.555,-36.865,20.555,-36.79), (19.555,-36.79,20.625,-35.865), (19.875,-35.865,20.625,-34.895), (8.04,-34.035,10.05,-32.845), (25.785,-33.865,26.81,-33.805), (22.51,-33.805,26.81,-33.665), (22.51,-33.665,22.65,-32.65), (25.785,-33.665,26.81,-33.605), (22.46,-32.65,22.725,-31.88), (22.46,-31.605,22.725,-30.835), (22.53,-30.835,22.67,-29.975), (11.045,-30.125,13.05,-29.665), (25.14,-30.05,26.18,-29.975), (22.53,-29.975,26.18,-29.835), (25.14,-29.835,26.18,-29.75), (11.045,-29.665,20.7,-28.86), (25.14,-28.63,26.18,-28.565), (24.325,-28.565,26.18,-28.41), (24.325,-28.41,24.48,-25.38), (25.14,-28.41,26.18,-28.33), (20.73,-28.22,23.96,-26.06), (25.11,-26.19,26.24,-25.89), (25.11,-25.89,25.295,-24.475), (25.91,-25.48,26.24,-25.08), (27.025,-25.475,27.345,-25.08), (5.255,-25.42,6.655,-25.325), (23.03,-25.38,24.48,-25.205), (5.255,-25.325,6.9,-23.32), (23.03,-25.205,23.205,-21.135), (25.91,-25.08,27.345,-24.81), (25.91,-24.81,26.24,-24.405), (27.025,-24.81,27.345,-24.405), (23.635,-24.475,25.295,-24.325), (23.635,-24.325,23.785,-20.105), (25.91,-24.265,26.24,-23.83), (24.39,-23.83,26.24,-23.625), (24.39,-23.625,24.595,-19.405), (25.91,-23.625,26.24,-23.195), (5.255,-23.32,6.655,-23.26), (8.04,-22.535,10.05,-21.345), (22.395,-21.465,22.655,-21.135), (22.395,-21.135,23.205,-20.96), (22.395,-20.96,22.655,-20.65), (22.4,-20.465,22.66,-20.105), (22.4,-20.105,23.785,-19.955), (22.4,-19.955,22.66,-19.65), (5.345,-19.58,6.085,-19.405), (5.345,-19.405,24.595,-19.2), (5.345,-19.2,6.085,-18.925), (11.045,-18.825,13.05,-18.365), (11.045,-18.365,20.7,-17.56), (20.74,-16.77,23.97,-14.61), (20.735,-13.97,22.245,-12.82), (19.87,-12.82,22.245,-11.82), (20.57,-11.82,22.245,-11.805), (8.045,-11.18,28.6,-10.195), (8.045,-10.195,10.05,-10.01), (22.44,-9.98,22.7,-9.74), (26.425,-9.98,26.685,-9.74), (22.44,-9.74,26.685,-9.55), (22.44,-9.55,22.7,-9.165), (26.425,-9.55,26.685,-9.165), (25.91,-9.275,26.17,-8.81), (22.44,-8.97,22.7,-8.81), (22.44,-8.81,26.17,-8.66), (22.44,-8.66,22.705,-8.54), (25.91,-8.66,26.17,-8.46), (22.44,-8.54,22.7,-8.155)])
A(ef_amux21x, via2, 17.35, -43.37, 0.2, 0.2, 4, 2, 0.4, 0.4)
A(ef_amux21x, via2, 11.145, -41.285, 0.2, 0.2, 5, 2, 0.4, 0.4)
A(ef_amux21x, via2, 23.14, -39.485, 0.2, 0.2, 1, 5, 0, 0.4)
A(ef_amux21x, via2, 23.54, -39.485, 0.2, 0.2, 1, 5, 0, 0.4)
A(ef_amux21x, via2, 19.95, -36.745, 0.2, 0.2, 1, 5, 0, 0.4)
A(ef_amux21x, via2, 20.35, -36.745, 0.2, 0.2, 1, 5, 0, 0.4)
A(ef_amux21x, via2, 8.345, -33.755, 0.2, 0.2, 4, 2, 0.4, 0.4)
A(ef_amux21x, via2, 11.345, -29.995, 0.2, 0.2, 4, 3, 0.4, 0.4)
A(ef_amux21x, via2, 23.14, -28.04, 0.2, 0.2, 1, 5, 0, 0.4)
A(ef_amux21x, via2, 23.54, -28.04, 0.2, 0.2, 1, 5, 0, 0.4)
A(ef_amux21x, via2, 5.415, -25.225, 0.2, 0.2, 4, 5, 0.4, 0.4)
A(ef_amux21x, via2, 8.345, -22.255, 0.2, 0.2, 4, 2, 0.4, 0.4)
A(ef_amux21x, via2, 11.345, -18.695, 0.2, 0.2, 4, 3, 0.4, 0.4)
A(ef_amux21x, via2, 23.135, -16.59, 0.2, 0.2, 1, 5, 0, 0.4)
A(ef_amux21x, via2, 23.535, -16.59, 0.2, 0.2, 1, 5, 0, 0.4)
A(ef_amux21x, via2, 21.44, -13.79, 0.2, 0.2, 1, 5, 0, 0.4)
A(ef_amux21x, via2, 21.84, -13.79, 0.2, 0.2, 1, 5, 0, 0.4)
A(ef_amux21x, via2, 8.36, -10.9, 0.2, 0.2, 4, 2, 0.4, 0.4)
R(ef_amux21x, met3_pin, [(22.955,-33.305,23.955,-32.305), (14.475,-9.02,15.475,-8.02), (17.495,-9.005,18.495,-8.005), (8.48,-8.99,9.48,-7.99), (5.57,-8.975,6.615,-7.97), (11.565,-8.855,12.565,-8.125), (19.795,-8.755,20.695,-7.755), (21.32,-8.72,22.195,-7.72)])
R(ef_amux21x, met3, [(8.05,-43.785,10.05,-7.725), (11.05,-43.785,13.05,-7.725), (14.05,-43.785,16.05,-7.715), (17.05,-43.785,19.05,-7.715), (19.795,-43.785,20.695,-7.705), (21.295,-43.785,22.195,-7.705), (5.235,-43.76,6.985,-7.705), (22.955,-42.22,23.935,-33.305), (22.955,-33.305,23.955,-32.305), (22.955,-32.305,23.935,-9.32)])
R(ef_amux21x, hvi, [(4.895,-43.815,22.25,-42.57), (24.78,-38.1,26.245,-37.46), (24.78,-34.26,26.245,-34.025), (4.9,-31.81,22.25,-31.12), (24.78,-31.805,26.245,-31.375), (24.78,-27.005,26.245,-26.825), (24.78,-24.605,26.245,-24.175), (24.78,-21.955,26.245,-21.775), (4.9,-20.36,22.25,-19.67), (24.78,-19.555,26.245,-19.375), (24.78,-17.155,26.245,-16.9), (24.78,-13.7,26.245,-13.06), (22.25,-8.94,22.255,-8.91), (4.9,-8.91,22.255,-7.74)])
R(ef_amux21x, nsdm, [(24.825,-34.32,25.77,-33.965), (24.815,-29.215,25.815,-29.165), (24.815,-27.065,25.815,-26.765), (24.815,-22.015,25.77,-21.715), (24.815,-19.615,25.77,-19.315)])
R(ef_amux21x, psdm, [(26.935,-34.245,28.185,-33.965), (26.45,-29.215,28.2,-29.165), (26.45,-27.065,28.2,-26.765), (26.45,-22.015,28.2,-21.645), (26.45,-19.615,28.2,-19.315)])
R(ef_amux21x, hvntm, [(24.765,-38.1,25.885,-37.46), (24.765,-34.26,25.83,-34.025), (24.755,-31.805,25.83,-31.375), (24.755,-27.005,25.875,-26.825), (24.755,-24.605,25.875,-24.175), (24.755,-21.955,25.83,-21.775), (24.755,-19.555,25.83,-19.375), (24.765,-17.155,25.875,-16.9), (24.765,-13.7,25.885,-13.06)])
ef_amux21x.add(gdstk.Reference(sky130_fd_sc_hvl__nor2_1, (24.36,-21.99), rotation=pi/2, x_reflection=True))
ef_amux21x.add(gdstk.Reference(sky130_fd_sc_hvl__nor2_1, (24.36,-31.59), rotation=3*pi/2))
ef_amux21x.add(gdstk.Reference(sky130_fd_sc_hvl__decap_, (24.36,-37.75), rotation=3*pi/2))
ef_amux21x.add(gdstk.Reference(sky130_fd_sc_hvl__decap_, (24.36,-13.35), rotation=3*pi/2))
ef_amux21x.add(gdstk.Reference(sky130_fd_sc_hvl__decap_, (24.36,-9.51), rotation=3*pi/2))
ef_amux21x.add(gdstk.Reference(sky130_fd_sc_hvl__decap_, (24.36,-33.91), rotation=3*pi/2))
ef_amux21x.add(gdstk.Reference(simple_analog_switch_2, (-1.15,-42.69)))
ef_amux21x.add(gdstk.Reference(simple_analog_switch_2, (-1.15,-19.79)))
ef_amux21x.add(gdstk.Reference(simple_analog_switch_2, (-1.15,-31.24)))
ef_amux21x.add(gdstk.Reference(sky130_fd_sc_hvl__inv_2, (24.36,-19.59), rotation=pi/2, x_reflection=True))
ef_amux21x.add(gdstk.Reference(sky130_fd_sc_hvl__inv_2, (24.36,-24.39), rotation=3*pi/2))
ef_amux21x.add(gdstk.Reference(sky130_fd_sc_hvl__inv_2, (24.36,-24.39), rotation=pi/2, x_reflection=True))
ef_amux21x.add(gdstk.Reference(sky130_fd_sc_hvl__inv_2, (24.36,-31.59), rotation=pi/2, x_reflection=True))
ef_amux21x.add(gdstk.Reference(sky130_fd_sc_hvl__inv_2, (24.36,-26.79), rotation=3*pi/2))
ef_amux21x.add(gdstk.Label('vdd3p3', (8.98,-8.49), layer=70, texttype=5))
ef_amux21x.add(gdstk.Label('vdd1p8', (14.975,-8.52), layer=70, texttype=5))
ef_amux21x.add(gdstk.Label('vo', (23.455,-32.805), layer=70, texttype=5))
ef_amux21x.add(gdstk.Label('vss', (12.065,-8.49), layer=70, texttype=5))
ef_amux21x.add(gdstk.Label('a', (20.245,-8.255), layer=70, texttype=5))
ef_amux21x.add(gdstk.Label('b', (21.757,-8.22), layer=70, texttype=5))
ef_amux21x.add(gdstk.Label('sel', (5.715,-19.252), layer=69, texttype=5))
ef_amux21x.add(gdstk.Label('dvss', (17.995,-8.505), layer=70, texttype=5))
ef_amux21x.add(gdstk.Label('selcm', (27.185,-8.625), layer=68, texttype=5))
ef_amux21x.add(gdstk.Label('cm', (6.092,-8.472), layer=70, texttype=5))

lib.write_gds('EF_AMUX21x.gds')
